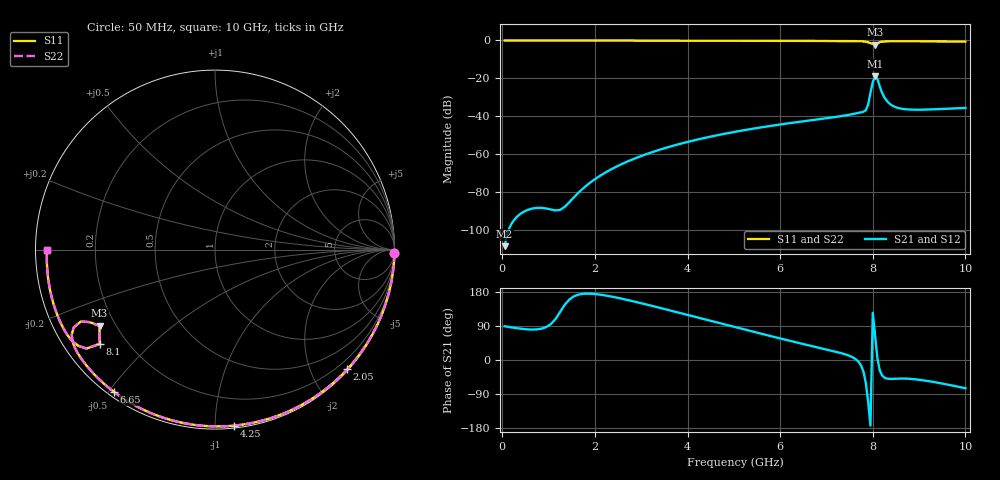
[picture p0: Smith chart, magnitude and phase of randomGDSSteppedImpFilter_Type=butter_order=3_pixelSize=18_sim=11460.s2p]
! freq	dB(S11)	phase(S11)	dB(S12)	phase(S12)
!  dB(S21)	phase(S21)	dB(S22)	phase(S22)
!S-par simulation data
#  GHz  S  DB  R 50
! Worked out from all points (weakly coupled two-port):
!   200 points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, 50 MHz to 10 GHz, reference 50 ohm
!   highest |S21| = -18.90 dB at 8.05 GHz (marker M1); lowest = -108.5 dB at 50 MHz (marker M2)
!   lowest |S11| = -2.3 dB at 8.05 GHz (marker M3), VSWR 7.72, Z = 7.05 - j14.7 ohm
!   |S11| at or under -10 dB: nowhere
!   |S22| runs from -2.3 to 0.0 dB; largest |S21 - S12| = 0
!   S11 on the Smith chart (normalised r, x): 50 MHz: open; 2.05 GHz: 0.02, -2.59; 4.25 GHz: 0.02, -1.11; 6.65 GHz: 0.02, -0.52; 8.1 GHz: 0.10, -0.35; 10 GHz: 0.03, +0.00
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0.05  -0.00 -1.1  -108.49 89.0  -108.49 89.0  -0.00 -1.1
0.8  -0.02 -16.7  -88.27 81.7  -88.27 81.7  -0.02 -16.7
1.65  -0.04 -34.1  -80.18 172.6  -80.18 172.6  -0.04 -34.1
1.75  -0.05 -36.2  -77.92 174.6  -77.92 174.6  -0.05 -36.1
2.05  -0.05 -42.2  -72.32 173.4  -72.32 173.4  -0.05 -42.2
2.65  -0.07 -54.0  -64.40 159.9  -64.40 159.9  -0.07 -54.0
3.4  -0.09 -68.3  -57.60 137.7  -57.60 137.7  -0.09 -68.3
4.25  -0.12 -83.9  -52.05 111.1  -52.05 111.1  -0.12 -83.9
5.05  -0.15 -98.1  -48.06 86.0  -48.06 86.0  -0.15 -98.1
6.65  -0.24 -125.4  -42.15 37.7  -42.15 37.7  -0.24 -125.4
6.7  -0.25 -126.2  -41.99 36.3  -41.99 36.3  -0.25 -126.2
7.5  -0.34 -140.4  -39.15 10.8  -39.15 10.8  -0.34 -140.4
7.85  -0.65 -149.3  -36.81 -60.5  -36.81 -60.5  -0.65 -149.3
7.9  -0.92 -151.2  -33.79 -110.9  -33.79 -110.9  -0.93 -151.2
8  -1.85 -150.0  -21.99 124.4  -21.99 124.4  -1.85 -150.0
8.05  -2.26 -146.6  -18.90 63.2  -18.90 63.2  -2.26 -146.5
8.1  -1.62 -140.7  -20.27 4.5  -20.27 4.5  -1.61 -140.7
8.2  -0.62 -144.8  -27.56 -40.5  -27.56 -40.5  -0.62 -144.8
8.35  -0.45 -149.6  -33.06 -49.7  -33.06 -49.7  -0.45 -149.6
8.5  -0.43 -153.0  -35.24 -49.3  -35.24 -49.3  -0.43 -153.0
8.75  -0.44 -157.8  -36.38 -49.2  -36.38 -49.2  -0.44 -157.8
10  -0.57 180.0  -35.58 -74.5  -35.58 -74.5  -0.57 180.0
